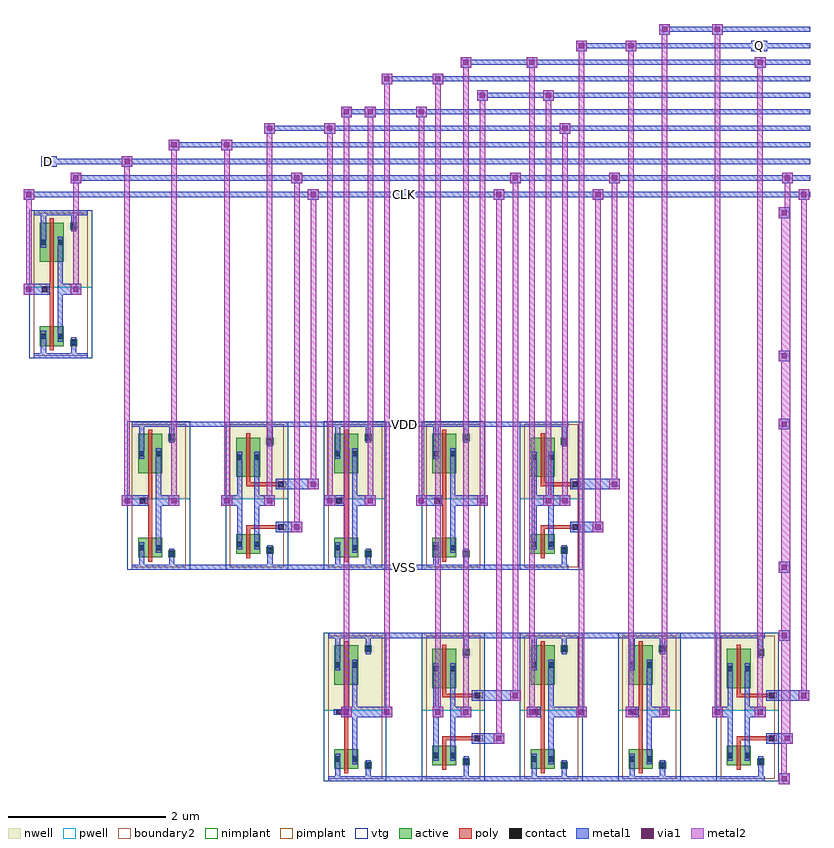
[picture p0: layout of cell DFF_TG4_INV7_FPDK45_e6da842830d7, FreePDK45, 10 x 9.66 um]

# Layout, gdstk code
import gdstk
lib = gdstk.Library(unit=1e-6, precision=5e-10)
def R(c, l, rs):  # rectangles x0, y0, x1, y1
    for r in rs: c.add(gdstk.rectangle(r[:2], r[2:], *l))
def A(c, l, x, y, w, h, nx, ny, dx, dy):  # array of equal rectangles
    R(c, l, [(x+i*dx, y+j*dy, x+i*dx+w, y+j*dy+h) for i in range(nx) for j in range(ny)])
active = (1, 0)
pwell = (2, 0)
nwell = (3, 0)
nimplant = (4, 0)
pimplant = (5, 0)
vtg = (6, 0)
poly = (9, 0)
contact = (10, 0)
metal1 = (11, 0)
via1 = (12, 0)
metal2 = (13, 0)
boundary2 = (239, 0)

compose_child__pinv_nw25 = lib.new_cell('COMPOSE_CHILD__PINV_NW250_PW500_L50__PINV_NW250_PW500_L50__TRANSMISSION_GATE_NW250_PW500_L50_contact_8')
R(compose_child__pinv_nw25, active, [(0,0.0225,0.09,0.1125)])
R(compose_child__pinv_nw25, nwell, [(-0.055,-0.0325,0.145,0.1675)])
R(compose_child__pinv_nw25, pimplant, [(0,0.0225,0.09,0.1125)])
R(compose_child__pinv_nw25, contact, [(0.0125,0.035,0.0775,0.1)])
R(compose_child__pinv_nw25, metal1, [(0.0125,0,0.0775,0.135)])
R(compose_child__pinv_nw25, boundary2, [(-0.055,-0.0325,0.145,0.1675)])

c_compose_child__pinv_nw25 = lib.new_cell('COMPOSE_CHILD__PINV_NW250_PW500_L50__PINV_NW250_PW500_L50__PINV_NW250_PW500_L50_pmos_m1_w0_500_sm1_dm1_da_p')
R(c_compose_child__pinv_nw25, active, [(0,0,0.305,0.5)])
R(c_compose_child__pinv_nw25, nwell, [(-0.08,-0.08,0.385,0.58)])
R(c_compose_child__pinv_nw25, pimplant, [(0,0,0.305,0.5)])
R(c_compose_child__pinv_nw25, vtg, [(-0.08,-0.08,0.385,0.58)])
R(c_compose_child__pinv_nw25, poly, [(0.1275,-0.055,0.1775,0.555), (0.1275,-0.055,0.1775,0.555)])
R(c_compose_child__pinv_nw25, metal1, [(0.0125,0.1825,0.0775,0.3175), (0.2275,0.1825,0.2925,0.3175)])
R(c_compose_child__pinv_nw25, boundary2, [(-0.08,-0.08,0.385,0.58)])
c_compose_child__pinv_nw25.add(gdstk.Reference(compose_child__pinv_nw25, (0,0.1825)))
c_compose_child__pinv_nw25.add(gdstk.Reference(compose_child__pinv_nw25, (0.215,0.1825)))

c_compose_child__pinv_nw25_ = lib.new_cell('COMPOSE_CHILD__PINV_NW250_PW500_L50__PINV_NW250_PW500_L50__TRANSMISSION_GATE_NW250_PW500_L50_contact_7')
R(c_compose_child__pinv_nw25_, active, [(0,0.0225,0.09,0.1125)])
R(c_compose_child__pinv_nw25_, pwell, [(-0.055,-0.0325,0.145,0.1675)])
R(c_compose_child__pinv_nw25_, nimplant, [(0,0.0225,0.09,0.1125)])
R(c_compose_child__pinv_nw25_, contact, [(0.0125,0.035,0.0775,0.1)])
R(c_compose_child__pinv_nw25_, metal1, [(0.0125,0,0.0775,0.135)])
R(c_compose_child__pinv_nw25_, boundary2, [(-0.055,-0.0325,0.145,0.1675)])

c_compose_child__pinv_nw25__ = lib.new_cell('COMPOSE_CHILD__PINV_NW250_PW500_L50__PINV_NW250_PW500_L50__PINV_NW250_PW500_L50_nmos_m1_w0_250_sm1_dm1_da_p')
R(c_compose_child__pinv_nw25__, active, [(0,0,0.305,0.25)])
R(c_compose_child__pinv_nw25__, pwell, [(-0.08,-0.08,0.385,0.33)])
R(c_compose_child__pinv_nw25__, nimplant, [(0,0,0.305,0.25)])
R(c_compose_child__pinv_nw25__, vtg, [(-0.08,-0.08,0.385,0.33)])
R(c_compose_child__pinv_nw25__, poly, [(0.1275,-0.055,0.1775,0.305), (0.1275,-0.055,0.1775,0.305)])
R(c_compose_child__pinv_nw25__, metal1, [(0.0125,0.0575,0.0775,0.1925), (0.2275,0.0575,0.2925,0.1925)])
R(c_compose_child__pinv_nw25__, boundary2, [(-0.08,-0.08,0.385,0.33)])
c_compose_child__pinv_nw25__.add(gdstk.Reference(c_compose_child__pinv_nw25_, (0,0.0575)))
c_compose_child__pinv_nw25__.add(gdstk.Reference(c_compose_child__pinv_nw25_, (0.215,0.0575)))

c_compose_child__pinv_nw25___ = lib.new_cell('COMPOSE_CHILD__PINV_NW250_PW500_L50__PINV_NW250_PW500_L50__TRANSMISSION_GATE_NW250_PW500_L50_contact_9')
R(c_compose_child__pinv_nw25___, active, [(0,0.0225,0.09,0.1125)])
R(c_compose_child__pinv_nw25___, nwell, [(-0.055,-0.0325,0.145,0.1675)])
R(c_compose_child__pinv_nw25___, nimplant, [(0,0.0225,0.09,0.1125)])
R(c_compose_child__pinv_nw25___, contact, [(0.0125,0.035,0.0775,0.1)])
R(c_compose_child__pinv_nw25___, metal1, [(0.0125,0,0.0775,0.135)])
R(c_compose_child__pinv_nw25___, boundary2, [(-0.055,-0.0325,0.145,0.1675)])

c_compose_child__pinv_nw25____ = lib.new_cell('COMPOSE_CHILD__PINV_NW250_PW500_L50__PINV_NW250_PW500_L50__TRANSMISSION_GATE_NW250_PW500_L50_contact_10')
R(c_compose_child__pinv_nw25____, active, [(0,0.0225,0.09,0.1125)])
R(c_compose_child__pinv_nw25____, pwell, [(-0.055,-0.0325,0.145,0.1675)])
R(c_compose_child__pinv_nw25____, pimplant, [(0,0.0225,0.09,0.1125)])
R(c_compose_child__pinv_nw25____, contact, [(0.0125,0.035,0.0775,0.1)])
R(c_compose_child__pinv_nw25____, metal1, [(0.0125,0,0.0775,0.135)])
R(c_compose_child__pinv_nw25____, boundary2, [(-0.055,-0.0325,0.145,0.1675)])

c_compose_child__pinv_nw25_____ = lib.new_cell('COMPOSE_CHILD__PINV_NW250_PW500_L50__PINV_NW250_PW500_L50__PINV_NW180_PW270_L50_contact_11')
R(c_compose_child__pinv_nw25_____, poly, [(0.03,0,0.105,0.075)])
R(c_compose_child__pinv_nw25_____, contact, [(0.035,0.005,0.1,0.07)])
R(c_compose_child__pinv_nw25_____, metal1, [(0,0.005,0.135,0.07)])
R(c_compose_child__pinv_nw25_____, boundary2, [(0,0,0.135,0.075)])

c_compose_child__pinv_nw25______ = lib.new_cell('COMPOSE_CHILD__PINV_NW250_PW500_L50__PINV_NW250_PW500_L50__PINV_NW250_PW500_L50_core')
R(c_compose_child__pinv_nw25______, pwell, [(-0.055,-0.0325,0.7425,0.8725)])
R(c_compose_child__pinv_nw25______, nwell, [(-0.055,0.8725,0.7425,1.855)])
R(c_compose_child__pinv_nw25______, vtg, [(-0.055,-0.0325,0.7425,0.8725), (-0.055,0.8725,0.7425,1.855)])
R(c_compose_child__pinv_nw25______, poly, [(0.2075,0.43,0.2575,1.14), (0.14,0.81,0.2075,0.885)])
R(c_compose_child__pinv_nw25______, metal1, [(0,-0.0325,0.6875,0.0325), (0.0925,-0.0325,0.1575,0.1825), (0.4775,0,0.5425,0.17), (0.3075,0.1825,0.3725,1.5125), (0.0725,0.815,0.2075,0.88), (0.34,0.815,0.405,0.88), (0.0925,1.3775,0.1575,1.8525), (0.4775,1.65,0.5425,1.82), (0,1.7875,0.6875,1.8525)])
R(c_compose_child__pinv_nw25______, boundary2, [(0,0,0.6875,1.82), (0,0,0.6875,1.82)])
c_compose_child__pinv_nw25______.add(gdstk.Reference(c_compose_child__pinv_nw25, (0.08,1.195)))
c_compose_child__pinv_nw25______.add(gdstk.Reference(c_compose_child__pinv_nw25__, (0.08,0.125)))
c_compose_child__pinv_nw25______.add(gdstk.Reference(c_compose_child__pinv_nw25___, (0.465,1.5825)))
c_compose_child__pinv_nw25______.add(gdstk.Reference(c_compose_child__pinv_nw25____, (0.465,0.1025)))
c_compose_child__pinv_nw25______.add(gdstk.Reference(c_compose_child__pinv_nw25_____, (0.0725,0.81)))

c_compose_child__pinv_nw25_______ = lib.new_cell('COMPOSE_CHILD__PINV_NW250_PW500_L50__PINV_NW250_PW500_L50__PINV_NW250_PW500_L50')
R(c_compose_child__pinv_nw25_______, metal1, [(0,-0.0325,0.6875,0.0325), (0.0725,0.815,0.2075,0.88), (0.34,0.815,0.405,0.88), (0,1.7875,0.6875,1.8525)])
R(c_compose_child__pinv_nw25_______, boundary2, [(0,0,0.6875,1.82)])
c_compose_child__pinv_nw25_______.add(gdstk.Reference(c_compose_child__pinv_nw25______, (0,0)))

compose_child__transmiss = lib.new_cell('COMPOSE_CHILD__TRANSMISSION_GATE_NW250_PW500_L50__TRANSMISSION_GATE_NW250_PW500_L50__TRANSMISSION_GATE_NW250_PW500_L50_contact_8')
R(compose_child__transmiss, active, [(0,0.0225,0.09,0.1125)])
R(compose_child__transmiss, nwell, [(-0.055,-0.0325,0.145,0.1675)])
R(compose_child__transmiss, pimplant, [(0,0.0225,0.09,0.1125)])
R(compose_child__transmiss, contact, [(0.0125,0.035,0.0775,0.1)])
R(compose_child__transmiss, metal1, [(0.0125,0,0.0775,0.135)])
R(compose_child__transmiss, boundary2, [(-0.055,-0.0325,0.145,0.1675)])

c_compose_child__transmiss = lib.new_cell('COMPOSE_CHILD__TRANSMISSION_GATE_NW250_PW500_L50__TRANSMISSION_GATE_NW250_PW500_L50__TRANSMISSION_GATE_NW250_PW500_L50_pmos_m1_w0_500_sm1_dm1')
R(c_compose_child__transmiss, active, [(0,0,0.305,0.5)])
R(c_compose_child__transmiss, nwell, [(-0.08,-0.08,0.385,0.58)])
R(c_compose_child__transmiss, pimplant, [(0,0,0.305,0.5)])
R(c_compose_child__transmiss, vtg, [(-0.08,-0.08,0.385,0.58)])
R(c_compose_child__transmiss, poly, [(0.1275,-0.055,0.1775,0.555), (0.1275,-0.055,0.1775,0.555)])
R(c_compose_child__transmiss, metal1, [(0.0125,0.1825,0.0775,0.3175), (0.2275,0.1825,0.2925,0.3175)])
R(c_compose_child__transmiss, boundary2, [(-0.08,-0.08,0.385,0.58)])
c_compose_child__transmiss.add(gdstk.Reference(compose_child__transmiss, (0,0.1825)))
c_compose_child__transmiss.add(gdstk.Reference(compose_child__transmiss, (0.215,0.1825)))

c_compose_child__transmiss_ = lib.new_cell('COMPOSE_CHILD__TRANSMISSION_GATE_NW250_PW500_L50__TRANSMISSION_GATE_NW250_PW500_L50__TRANSMISSION_GATE_NW250_PW500_L50_contact_7')
R(c_compose_child__transmiss_, active, [(0,0.0225,0.09,0.1125)])
R(c_compose_child__transmiss_, pwell, [(-0.055,-0.0325,0.145,0.1675)])
R(c_compose_child__transmiss_, nimplant, [(0,0.0225,0.09,0.1125)])
R(c_compose_child__transmiss_, contact, [(0.0125,0.035,0.0775,0.1)])
R(c_compose_child__transmiss_, metal1, [(0.0125,0,0.0775,0.135)])
R(c_compose_child__transmiss_, boundary2, [(-0.055,-0.0325,0.145,0.1675)])

c_compose_child__transmiss__ = lib.new_cell('COMPOSE_CHILD__TRANSMISSION_GATE_NW250_PW500_L50__TRANSMISSION_GATE_NW250_PW500_L50__TRANSMISSION_GATE_NW250_PW500_L50_nmos_m1_w0_250_sm1_dm1')
R(c_compose_child__transmiss__, active, [(0,0,0.305,0.25)])
R(c_compose_child__transmiss__, pwell, [(-0.08,-0.08,0.385,0.33)])
R(c_compose_child__transmiss__, nimplant, [(0,0,0.305,0.25)])
R(c_compose_child__transmiss__, vtg, [(-0.08,-0.08,0.385,0.33)])
R(c_compose_child__transmiss__, poly, [(0.1275,-0.055,0.1775,0.305), (0.1275,-0.055,0.1775,0.305)])
R(c_compose_child__transmiss__, metal1, [(0.0125,0.0575,0.0775,0.1925), (0.2275,0.0575,0.2925,0.1925)])
R(c_compose_child__transmiss__, boundary2, [(-0.08,-0.08,0.385,0.33)])
c_compose_child__transmiss__.add(gdstk.Reference(c_compose_child__transmiss_, (0,0.0575)))
c_compose_child__transmiss__.add(gdstk.Reference(c_compose_child__transmiss_, (0.215,0.0575)))

c_compose_child__transmiss___ = lib.new_cell('COMPOSE_CHILD__TRANSMISSION_GATE_NW250_PW500_L50__TRANSMISSION_GATE_NW250_PW500_L50__TRANSMISSION_GATE_NW250_PW500_L50_contact_9')
R(c_compose_child__transmiss___, active, [(0,0.0225,0.09,0.1125)])
R(c_compose_child__transmiss___, nwell, [(-0.055,-0.0325,0.145,0.1675)])
R(c_compose_child__transmiss___, nimplant, [(0,0.0225,0.09,0.1125)])
R(c_compose_child__transmiss___, contact, [(0.0125,0.035,0.0775,0.1)])
R(c_compose_child__transmiss___, metal1, [(0.0125,0,0.0775,0.135)])
R(c_compose_child__transmiss___, boundary2, [(-0.055,-0.0325,0.145,0.1675)])

c_compose_child__transmiss____ = lib.new_cell('COMPOSE_CHILD__TRANSMISSION_GATE_NW250_PW500_L50__TRANSMISSION_GATE_NW250_PW500_L50__TRANSMISSION_GATE_NW250_PW500_L50_contact_10')
R(c_compose_child__transmiss____, active, [(0,0.0225,0.09,0.1125)])
R(c_compose_child__transmiss____, pwell, [(-0.055,-0.0325,0.145,0.1675)])
R(c_compose_child__transmiss____, pimplant, [(0,0.0225,0.09,0.1125)])
R(c_compose_child__transmiss____, contact, [(0.0125,0.035,0.0775,0.1)])
R(c_compose_child__transmiss____, metal1, [(0.0125,0,0.0775,0.135)])
R(c_compose_child__transmiss____, boundary2, [(-0.055,-0.0325,0.145,0.1675)])

c_compose_child__transmiss_____ = lib.new_cell('COMPOSE_CHILD__TRANSMISSION_GATE_NW250_PW500_L50__TRANSMISSION_GATE_NW250_PW500_L50__TRANSMISSION_GATE_NW250_PW500_L50_contact_11')
R(c_compose_child__transmiss_____, poly, [(0.03,0,0.105,0.075)])
R(c_compose_child__transmiss_____, contact, [(0.035,0.005,0.1,0.07)])
R(c_compose_child__transmiss_____, metal1, [(0,0.005,0.135,0.07)])
R(c_compose_child__transmiss_____, boundary2, [(0,0,0.135,0.075)])

c_compose_child__transmiss______ = lib.new_cell('COMPOSE_CHILD__TRANSMISSION_GATE_NW250_PW500_L50__TRANSMISSION_GATE_NW250_PW500_L50__TRANSMISSION_GATE_NW250_PW500_L50_core')
R(c_compose_child__transmiss______, pwell, [(-0.055,-0.0325,0.7425,0.8725)])
R(c_compose_child__transmiss______, nwell, [(-0.055,0.8725,0.7425,1.8525)])
R(c_compose_child__transmiss______, vtg, [(-0.055,-0.0325,0.7425,0.8725), (-0.055,0.8725,0.7425,1.8525)])
R(c_compose_child__transmiss______, poly, [(0.2075,0.295,0.2575,0.5125), (0.2075,0.4875,0.2575,0.5375), (0.2325,0.4875,0.65,0.5375), (0.2075,1.0325,0.2575,1.0825), (0.2325,1.0325,0.65,1.0825), (0.2075,1.0575,0.2575,1.4)])
R(c_compose_child__transmiss______, metal1, [(0,-0.0325,0.56,0.0325), (0.4775,0,0.5425,0.215), (0.0925,0.2275,0.1575,1.4675), (0.3075,0.2275,0.3725,1.4675), (0.5825,0.48,0.7175,0.545), (0.5825,1.025,0.7175,1.09), (0.4775,1.605,0.5425,1.82), (0,1.7875,0.56,1.8525)])
R(c_compose_child__transmiss______, boundary2, [(0,0,0.6875,1.82), (0,0,0.6875,1.82)])
c_compose_child__transmiss______.add(gdstk.Reference(c_compose_child__transmiss, (0.08,1.15)))
c_compose_child__transmiss______.add(gdstk.Reference(c_compose_child__transmiss__, (0.08,0.17)))
c_compose_child__transmiss______.add(gdstk.Reference(c_compose_child__transmiss___, (0.465,1.5375)))
c_compose_child__transmiss______.add(gdstk.Reference(c_compose_child__transmiss____, (0.465,0.1475)))
c_compose_child__transmiss______.add(gdstk.Reference(c_compose_child__transmiss_____, (0.5825,1.02)))
c_compose_child__transmiss______.add(gdstk.Reference(c_compose_child__transmiss_____, (0.5825,0.475)))

c_compose_child__transmiss_______ = lib.new_cell('COMPOSE_CHILD__TRANSMISSION_GATE_NW250_PW500_L50__TRANSMISSION_GATE_NW250_PW500_L50__TRANSMISSION_GATE_NW250_PW500_L50')
R(c_compose_child__transmiss_______, metal1, [(0,-0.0325,0.56,0.0325), (0.0925,0.2275,0.1575,1.4675), (0.3075,0.2275,0.3725,1.4675), (0.5825,0.48,0.7175,0.545), (0.5825,1.025,0.7175,1.09), (0,1.7875,0.56,1.8525)])
R(c_compose_child__transmiss_______, boundary2, [(0,0,0.6875,1.82)])
c_compose_child__transmiss_______.add(gdstk.Reference(c_compose_child__transmiss______, (0,0)))

dff_tg4_inv7_fpdk45_e6da = lib.new_cell('DFF_TG4_INV7_FPDK45_e6da842830d7')
A(dff_tg4_inv7_fpdk45_e6da, metal1, 6.3225, 0.8125, 0.135, 0.135, 3, 1, 0.63, 0)
R(dff_tg4_inv7_fpdk45_e6da, metal1, [(9.53,-0.035,9.665,0.1), (4.485,0,5.045,0.065), (5.605,0,6.2925,0.065), (6.98,0,7.54,0.065), (8.2275,0,8.7875,0.065), (5.6275,0.4775,5.97,0.6125), (5.9025,0.4775,6.0375,0.6125), (9.37,0.4775,9.6375,0.6125), (9.57,0.4775,9.705,0.6125), (3.9625,0.8125,4.0975,0.9475), (4.005,0.8125,4.03,0.9475), (4.1375,0.8125,4.545,0.9475), (4.4775,0.8125,4.6125,0.9475), (5.1275,0.8125,5.2625,0.9475), (5.195,0.8125,5.2025,0.9475), (5.3525,0.8125,5.55,0.9475), (5.4825,0.8125,5.6175,0.9475), (6.39,0.8125,6.5,0.9475), (6.6325,0.8125,7.02,0.9475), (7.65,0.8125,7.7475,0.9475), (7.88,0.8125,8.0775,0.9475), (8.01,0.8125,8.145,0.9475), (8.68,0.8125,8.815,0.9475), (8.7475,0.8125,8.945,0.9475), (9.095,0.8125,9.2925,0.9475), (9.225,0.8125,9.36,0.9475), (5.6275,1.0225,6.18,1.1575), (6.1125,1.0225,6.2475,1.1575), (9.37,1.0225,9.8475,1.1575), (9.78,1.0225,9.915,1.1575), (9.53,1.785,9.665,1.92), (4.485,1.82,5.045,1.885), (5.605,1.82,6.2925,1.885), (6.98,1.82,7.54,1.885), (8.2275,1.82,8.7875,1.885), (9.53,2.6525,9.665,2.7875), (9.53,2.6525,9.665,2.7875), (1.99,2.6875,2.55,2.7525), (3.11,2.6875,3.7975,2.7525), (4.485,2.6875,5.045,2.7525), (5.7325,2.6875,6.2925,2.7525), (3.1325,3.165,3.4,3.3), (3.3325,3.165,3.4675,3.3), (6.875,3.165,7.23,3.3), (7.1625,3.165,7.2975,3.3), (1.175,3.5,1.31,3.635), (1.2425,3.5,1.51,3.635), (1.6425,3.5,1.84,3.635), (1.7725,3.5,1.9075,3.635), (2.4425,3.5,2.5775,3.635), (2.51,3.5,2.7075,3.635), (2.8575,3.5,3.055,3.635), (2.9875,3.5,3.1225,3.635), (3.7525,3.5,3.8875,3.635), (3.82,3.5,4.005,3.635), (4.1375,3.5,4.335,3.635), (4.2675,3.5,4.4025,3.635), (4.9175,3.5,5.0525,3.635), (4.985,3.5,5.2525,3.635), (5.385,3.5,5.76,3.635), (5.6925,3.5,5.8275,3.635), (6.45,3.5,6.6,3.635), (6.5325,3.5,6.6675,3.635), (6.6,3.5,6.81,3.635), (6.7425,3.5,6.8775,3.635), (3.1325,3.71,3.61,3.845), (3.5425,3.71,3.6775,3.845), (6.875,3.71,7.44,3.845), (7.3725,3.71,7.5075,3.845), (9.53,4.4725,9.665,4.6075), (9.53,4.4725,9.665,4.6075), (1.99,4.5075,2.55,4.5725), (3.11,4.5075,3.7975,4.5725), (4.485,4.5075,5.045,4.5725), (5.7325,4.5075,6.2925,4.5725), (9.53,5.34,9.665,5.475), (-0.0725,6.1875,0.0625,6.3225), (-0.005,6.1875,0.2625,6.3225), (0.395,6.1875,0.5925,6.3225), (0.525,6.1875,0.66,6.3225), (9.53,7.16,9.665,7.295), (-0.0725,7.3925,0.0625,7.5275), (3.5425,7.3925,3.6775,7.5275), (4.665,7.3925,4.865,7.5275), (5.9025,7.3925,6.0375,7.5275), (7.1625,7.3925,7.2975,7.5275), (9.78,7.3925,9.915,7.5275), (-0.005,7.4275,9.93,7.4925), (0.525,7.6025,0.66,7.7375), (3.3325,7.6025,3.4675,7.7375), (6.1125,7.6025,6.2475,7.7375), (7.3725,7.6025,7.5075,7.7375), (9.57,7.6025,9.705,7.7375), (0.5925,7.6375,9.93,7.7025), (0.15,7.8125,0.35,7.9475), (1.175,7.8125,1.31,7.9475), (0.15,7.8475,9.93,7.9125), (1.7725,8.0225,1.9075,8.1575), (2.4425,8.0225,2.5775,8.1575), (1.84,8.0575,9.93,8.1225), (2.9875,8.2325,3.1225,8.3675), (3.7525,8.2325,3.8875,8.3675), (6.7425,8.2325,6.8775,8.3675), (3.055,8.2675,9.93,8.3325), (3.9625,8.4425,4.0975,8.5775), (4.2675,8.4425,4.4025,8.5775), (4.9175,8.4425,5.0525,8.5775), (4.03,8.4775,9.93,8.5425), (5.6925,8.6525,5.8275,8.7875), (6.5325,8.6525,6.6675,8.7875), (5.76,8.6875,9.93,8.7525), (4.4775,8.8625,4.6125,8.9975), (5.1275,8.8625,5.2625,8.9975), (4.545,8.8975,9.93,8.9625), (5.4825,9.0725,5.6175,9.2075), (6.3225,9.0725,6.4575,9.2075), (9.225,9.0725,9.36,9.2075), (5.55,9.1075,9.93,9.1725), (6.9525,9.2825,7.0875,9.4175), (7.5825,9.2825,7.7175,9.4175), (9.18,9.2825,9.38,9.4175), (7.02,9.3175,9.93,9.3825), (8.01,9.4925,8.145,9.6275), (8.68,9.4925,8.815,9.6275), (8.0775,9.5275,9.93,9.5925)])
A(dff_tg4_inv7_fpdk45_e6da, via1, 6.3575, 0.8475, 0.065, 0.065, 3, 1, 0.63, 0)
R(dff_tg4_inv7_fpdk45_e6da, via1, [(9.565,0,9.63,0.065), (5.9375,0.5125,6.0025,0.5775), (9.605,0.5125,9.67,0.5775), (3.9975,0.8475,4.0625,0.9125), (4.5125,0.8475,4.5775,0.9125), (5.1625,0.8475,5.2275,0.9125), (5.5175,0.8475,5.5825,0.9125), (8.045,0.8475,8.11,0.9125), (8.715,0.8475,8.78,0.9125), (9.26,0.8475,9.325,0.9125), (6.1475,1.0575,6.2125,1.1225), (9.815,1.0575,9.88,1.1225), (9.565,1.82,9.63,1.885), (9.565,2.6875,9.63,2.7525), (9.565,2.6875,9.63,2.7525), (3.3675,3.2,3.4325,3.265), (7.1975,3.2,7.2625,3.265), (1.21,3.535,1.275,3.6), (1.8075,3.535,1.8725,3.6), (2.4775,3.535,2.5425,3.6), (3.0225,3.535,3.0875,3.6), (3.7875,3.535,3.8525,3.6), (4.3025,3.535,4.3675,3.6), (4.9525,3.535,5.0175,3.6), (5.7275,3.535,5.7925,3.6), (6.5675,3.535,6.6325,3.6), (6.7775,3.535,6.8425,3.6), (3.5775,3.745,3.6425,3.81), (7.4075,3.745,7.4725,3.81), (9.565,4.5075,9.63,4.5725), (9.565,4.5075,9.63,4.5725), (9.565,5.375,9.63,5.44), (-0.0375,6.2225,0.0275,6.2875), (0.56,6.2225,0.625,6.2875), (9.565,7.195,9.63,7.26), (-0.0375,7.4275,0.0275,7.4925), (3.5775,7.4275,3.6425,7.4925), (5.9375,7.4275,6.0025,7.4925), (7.1975,7.4275,7.2625,7.4925), (9.815,7.4275,9.88,7.4925), (0.56,7.6375,0.625,7.7025), (3.3675,7.6375,3.4325,7.7025), (6.1475,7.6375,6.2125,7.7025), (7.4075,7.6375,7.4725,7.7025), (9.605,7.6375,9.67,7.7025), (1.21,7.8475,1.275,7.9125), (1.8075,8.0575,1.8725,8.1225), (2.4775,8.0575,2.5425,8.1225), (3.0225,8.2675,3.0875,8.3325), (3.7875,8.2675,3.8525,8.3325), (6.7775,8.2675,6.8425,8.3325), (3.9975,8.4775,4.0625,8.5425), (4.3025,8.4775,4.3675,8.5425), (4.9525,8.4775,5.0175,8.5425), (5.7275,8.6875,5.7925,8.7525), (6.5675,8.6875,6.6325,8.7525), (4.5125,8.8975,4.5775,8.9625), (5.1625,8.8975,5.2275,8.9625), (5.5175,9.1075,5.5825,9.1725), (6.3575,9.1075,6.4225,9.1725), (9.26,9.1075,9.325,9.1725), (6.9875,9.3175,7.0525,9.3825), (7.6175,9.3175,7.6825,9.3825), (8.045,9.5275,8.11,9.5925), (8.715,9.5275,8.78,9.5925)])
A(dff_tg4_inv7_fpdk45_e6da, metal2, 6.3225, 0.8125, 0.135, 0.135, 3, 1, 0.63, 0)
R(dff_tg4_inv7_fpdk45_e6da, metal2, [(9.53,-0.035,9.665,0.1), (9.5625,0.0325,9.6325,2.72), (5.9025,0.4775,6.0375,0.6125), (9.57,0.4775,9.705,0.6125), (5.935,0.6125,6.005,7.3925), (9.6025,0.6125,9.6725,7.6025), (3.9625,0.8125,4.0975,0.9475), (4.4775,0.8125,4.6125,0.9475), (5.1275,0.8125,5.2625,0.9475), (5.4825,0.8125,5.6175,0.9475), (8.01,0.8125,8.145,0.9475), (8.68,0.8125,8.815,0.9475), (9.225,0.8125,9.36,0.9475), (3.995,0.9475,4.065,8.4425), (4.51,0.9475,4.58,8.8625), (5.16,0.9475,5.23,8.8625), (5.515,0.9475,5.585,9.0725), (6.355,0.9475,6.425,9.0725), (6.985,0.9475,7.055,9.2825), (7.615,0.9475,7.685,9.2825), (8.0425,0.9475,8.1125,9.4925), (8.7125,0.9475,8.7825,9.4925), (9.2575,0.9475,9.3275,9.0725), (6.1125,1.0225,6.2475,1.1575), (9.78,1.0225,9.915,1.1575), (6.145,1.1575,6.215,7.6025), (9.8125,1.1575,9.8825,7.3925), (9.53,1.785,9.665,1.92), (9.5625,1.8525,9.6325,4.54), (9.53,2.6525,9.665,2.7875), (9.53,2.6525,9.665,2.7875), (9.5625,2.72,9.6325,5.4075), (3.3325,3.165,3.4675,3.3), (7.1625,3.165,7.2975,3.3), (3.365,3.3,3.435,7.6025), (7.195,3.3,7.265,7.3925), (1.175,3.5,1.31,3.635), (1.7725,3.5,1.9075,3.635), (2.4425,3.5,2.5775,3.635), (2.9875,3.5,3.1225,3.635), (3.7525,3.5,3.8875,3.635), (4.2675,3.5,4.4025,3.635), (4.9175,3.5,5.0525,3.635), (5.6925,3.5,5.8275,3.635), (6.5325,3.5,6.6675,3.635), (6.7425,3.5,6.8775,3.635), (1.2075,3.635,1.2775,7.8125), (1.805,3.635,1.875,8.0225), (2.475,3.635,2.545,8.0225), (3.02,3.635,3.09,8.2325), (3.785,3.635,3.855,8.2325), (4.3,3.635,4.37,8.4425), (4.95,3.635,5.02,8.4425), (5.725,3.635,5.795,8.6525), (6.565,3.635,6.635,8.6525), (6.775,3.635,6.845,8.2325), (3.5425,3.71,3.6775,3.845), (7.3725,3.71,7.5075,3.845), (3.575,3.845,3.645,7.3925), (7.405,3.845,7.475,7.6025), (9.53,4.4725,9.665,4.6075), (9.53,4.4725,9.665,4.6075), (9.5625,4.54,9.6325,7.2275), (9.53,5.34,9.665,5.475), (-0.0725,6.1875,0.0625,6.3225), (0.525,6.1875,0.66,6.3225), (-0.04,6.3225,0.03,7.3925), (0.5575,6.3225,0.6275,7.6025), (9.53,7.16,9.665,7.295), (-0.0725,7.3925,0.0625,7.5275), (3.5425,7.3925,3.6775,7.5275), (5.9025,7.3925,6.0375,7.5275), (7.1625,7.3925,7.2975,7.5275), (9.78,7.3925,9.915,7.5275), (0.525,7.6025,0.66,7.7375), (3.3325,7.6025,3.4675,7.7375), (6.1125,7.6025,6.2475,7.7375), (7.3725,7.6025,7.5075,7.7375), (9.57,7.6025,9.705,7.7375), (1.175,7.8125,1.31,7.9475), (1.7725,8.0225,1.9075,8.1575), (2.4425,8.0225,2.5775,8.1575), (2.9875,8.2325,3.1225,8.3675), (3.7525,8.2325,3.8875,8.3675), (6.7425,8.2325,6.8775,8.3675), (3.9625,8.4425,4.0975,8.5775), (4.2675,8.4425,4.4025,8.5775), (4.9175,8.4425,5.0525,8.5775), (5.6925,8.6525,5.8275,8.7875), (6.5325,8.6525,6.6675,8.7875), (4.4775,8.8625,4.6125,8.9975), (5.1275,8.8625,5.2625,8.9975), (5.4825,9.0725,5.6175,9.2075), (6.3225,9.0725,6.4575,9.2075), (9.225,9.0725,9.36,9.2075), (6.9525,9.2825,7.0875,9.4175), (7.5825,9.2825,7.7175,9.4175), (8.01,9.4925,8.145,9.6275), (8.68,9.4925,8.815,9.6275)])
dff_tg4_inv7_fpdk45_e6da.add(gdstk.Reference(c_compose_child__pinv_nw25_______, (0.055,5.4075)))
dff_tg4_inv7_fpdk45_e6da.add(gdstk.Reference(c_compose_child__pinv_nw25_______, (1.3025,2.72)))
dff_tg4_inv7_fpdk45_e6da.add(gdstk.Reference(c_compose_child__transmiss_______, (2.55,2.72)))
dff_tg4_inv7_fpdk45_e6da.add(gdstk.Reference(c_compose_child__pinv_nw25_______, (3.7975,2.72)))
dff_tg4_inv7_fpdk45_e6da.add(gdstk.Reference(c_compose_child__pinv_nw25_______, (5.045,2.72)))
dff_tg4_inv7_fpdk45_e6da.add(gdstk.Reference(c_compose_child__transmiss_______, (6.2925,2.72)))
dff_tg4_inv7_fpdk45_e6da.add(gdstk.Reference(c_compose_child__pinv_nw25_______, (3.7975,0.0325)))
dff_tg4_inv7_fpdk45_e6da.add(gdstk.Reference(c_compose_child__transmiss_______, (5.045,0.0325)))
dff_tg4_inv7_fpdk45_e6da.add(gdstk.Reference(c_compose_child__pinv_nw25_______, (6.2925,0.0325)))
dff_tg4_inv7_fpdk45_e6da.add(gdstk.Reference(c_compose_child__pinv_nw25_______, (7.54,0.0325)))
dff_tg4_inv7_fpdk45_e6da.add(gdstk.Reference(c_compose_child__transmiss_______, (8.7875,0.0325)))
dff_tg4_inv7_fpdk45_e6da.add(gdstk.Label('CLK', (4.765,7.46), layer=11, texttype=0))
dff_tg4_inv7_fpdk45_e6da.add(gdstk.Label('D', (0.25,7.88), layer=11, texttype=0))
dff_tg4_inv7_fpdk45_e6da.add(gdstk.Label('Q', (9.28,9.35), layer=11, texttype=0))
dff_tg4_inv7_fpdk45_e6da.add(gdstk.Label('VDD', (4.765,4.54), layer=11, texttype=0))
dff_tg4_inv7_fpdk45_e6da.add(gdstk.Label('VSS', (4.765,2.72), layer=11, texttype=0))

lib.write_gds('DFF_TG4_INV7_FPDK45_e6da842830d7.gds')
